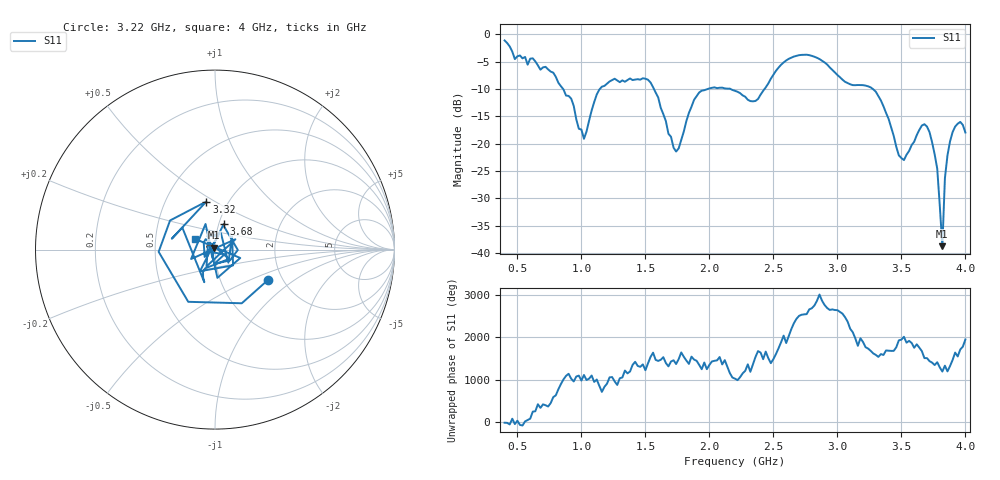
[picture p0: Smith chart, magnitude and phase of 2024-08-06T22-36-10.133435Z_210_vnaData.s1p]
!Created with skrf (http://scikit-rf.org).
# Hz S RI R 50.0
!freq ReS11 ImS11
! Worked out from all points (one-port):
!   181 points, 400 MHz to 4 GHz, reference 50 ohm
!   lowest |S11| = -38.7 dB at 3.82 GHz (marker M1), VSWR 1.02, Z = 49.5 + j1.05 ohm
!   |S11| at or under -10 dB: 857 MHz to 1.144 GHz (287.3 MHz wide, 28.7 % of centre); 1.567 GHz to 1.989 GHz (422.3 MHz wide, 23.8 % of centre); 3.277 GHz to end of sweep (the widest 3 of 4)
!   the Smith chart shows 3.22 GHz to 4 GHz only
!   S11 on the Smith chart (normalised r, x): 3.22 GHz: 1.67, -0.65; 3.32 GHz: 0.79, +0.46; 3.68 GHz: 1.06, +0.31; 4 GHz: 0.79, +0.10
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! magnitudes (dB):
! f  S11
! 400 MHz  -1.1
! 480 MHz  -4.5
! 620 MHz  -4.4
! 860 MHz  -10.1
! 1.02 GHz  -19.1
! 1.14 GHz  -10.1
! 1.3 GHz  -8.8
! 1.54 GHz  -8.8
! 1.72 GHz  -20.7
! 1.76 GHz  -20.9
! 1.92 GHz  -10.6
! 2.2 GHz  -10.4
! 2.36 GHz  -12.2
! 2.66 GHz  -4.1
! 2.84 GHz  -4.3
! 3.1 GHz  -9.1
! 3.22 GHz  -9.4
! 3.32 GHz  -11.3
! 3.48 GHz  -22.1
! 3.56 GHz  -21.3
! 3.68 GHz  -16.4
! 3.72 GHz  -17.9
! 3.78 GHz  -24.6
! 3.82 GHz  -38.7
! 3.84 GHz  -26.3
! 3.88 GHz  -19.6
! 3.96 GHz  -16.0
! 4 GHz  -18.0
